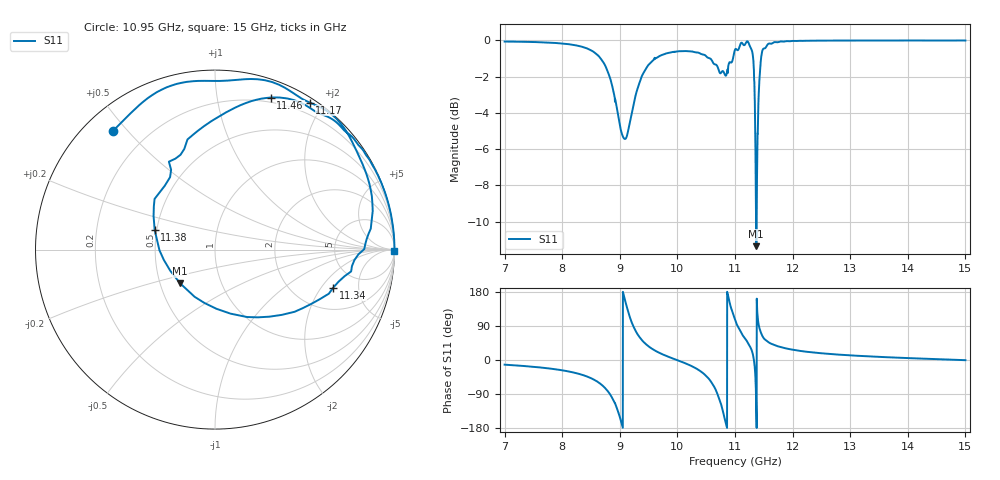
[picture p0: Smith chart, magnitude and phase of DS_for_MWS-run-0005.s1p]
! TOUCHSTONE file generated by CST DESIGN STUDIO
! Date and time: Mon Feb 10 16:46:56 2025
! Project name: C:\Work\MatlabApps\UnitCellType2OptimizationMatlab\CST\unitcell.cst
! Tree item: Tasks\Sweep1\SPara1\S-Parameters
! Header version: 2024
! Port assignment regex: !\s*Touchstone port\s*([0-9]+)\s*=\s*(CST MWS port|CST DES external port|CST DES block port)\s*(.+)\s* \(\"(.*)\"\)(\s*mode\s*([0-9]+))?.*
! Touchstone port assignment:
! Touchstone port 1 = CST DES external port 1 ("")
# GHz S MA R 50
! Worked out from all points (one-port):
!   4001 points, 7 GHz to 15 GHz, reference 50 ohm
!   lowest |S11| = -11.4 dB at 11.37 GHz (marker M1), VSWR 1.74, Z = 31.7 - j12.8 ohm
!   |S11| at or under -10 dB: 11.36501 GHz to 11.37632 GHz (11.31 MHz wide, 0.0995 % of centre)
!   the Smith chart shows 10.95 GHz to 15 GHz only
!   S11 on the Smith chart (normalised r, x): 10.95 GHz: 0.08, +0.46; 11.17 GHz: 0.06, +1.83; 11.34 GHz: 3.23, -2.63; 11.38 GHz: 0.49, +0.12; 11.46 GHz: 0.16, +1.42; 15 GHz: open
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7  0.993 -12.3
8  0.9809 -27.2
8.48  0.9426 -46.6
8.768  0.8373 -78.0
8.894  0.7172 -107.7
9  0.5835 -150.4
9.154  0.5731 123.1
9.274  0.705 77.0
9.544  0.8706 31.2
10  0.9324 -0.5
10.456  0.9139 -36.0
10.698  0.8452 -91.0
10.77  0.8198 -123.1
10.842  0.7997 -167.5
10.946  0.872 130.6
11  0.9435 106.6
11.174  0.9748 57.2
11.296  0.9348 23.0
11.342  0.6919 -17.9
11.37  0.2703 -136.1
11.378  0.3539 161.9
11.406  0.6707 97.9
11.456  0.9027 69.8
11.608  0.9802 44.4
12  0.997 27.1
13  0.9993 12.2
14  0.9999 5.1
15  0.9996 -0.5
